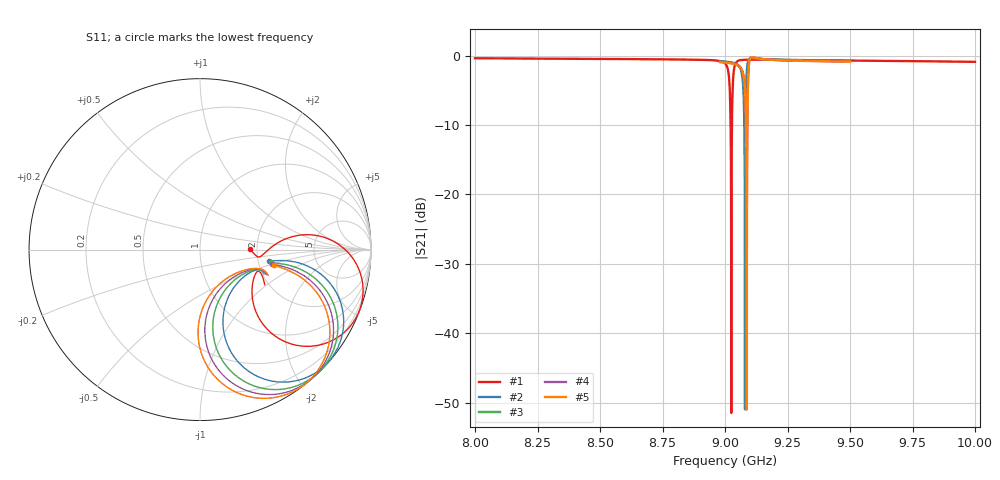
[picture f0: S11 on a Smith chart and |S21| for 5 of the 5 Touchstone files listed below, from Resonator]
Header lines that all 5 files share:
! Sonnet Data File
! From: emgraph Version : 16.52
!< PARAMS
!< END PARAMS
# GHZ S MA R 35.98000
Fixed: Pwid1 = 2000.0, Width = 10.0
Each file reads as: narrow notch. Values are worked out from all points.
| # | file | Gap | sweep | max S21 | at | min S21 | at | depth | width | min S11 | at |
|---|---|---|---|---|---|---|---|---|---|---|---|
| 1 | Odd_eCap_W10_gp12.s2p | 12.0 | 8 GHz to 10 GHz | -0.38 dB | 8 GHz | -51.5 dB | 9.025 GHz | 50.8 dB | 797 kHz | -10.8 dB | 8 GHz |
| 2 | Odd_eCap_W10_gp53.s2p | 53.0 | 8.98 GHz to 9.5 GHz | -0.39 dB | 9.107 GHz | -50.9 dB | 9.08 GHz | 50.2 dB | 755 kHz | -10.6 dB | 9.107 GHz |
| 3 | Odd_eCap_W10_gp73.s2p | 73.0 | 8.98 GHz to 9.5 GHz | -0.33 dB | 9.108 GHz | -51.0 dB | 9.084 GHz | 50.2 dB | 759 kHz | -11.4 dB | 9.108 GHz |
| 4 | Odd_eCap_W10_gp93.s2p | 93.0 | 8.98 GHz to 9.5 GHz | -0.28 dB | 9.107 GHz | -51.0 dB | 9.086 GHz | 50.1 dB | 756 kHz | -12.2 dB | 9.107 GHz |
| 5 | Odd_eCap_W10_gp113.s2p | 113.0 | 8.98 GHz to 9.5 GHz | -0.23 dB | 9.107 GHz | -50.9 dB | 9.087 GHz | 50.1 dB | 761 kHz | -12.8 dB | 9.107 GHz |
